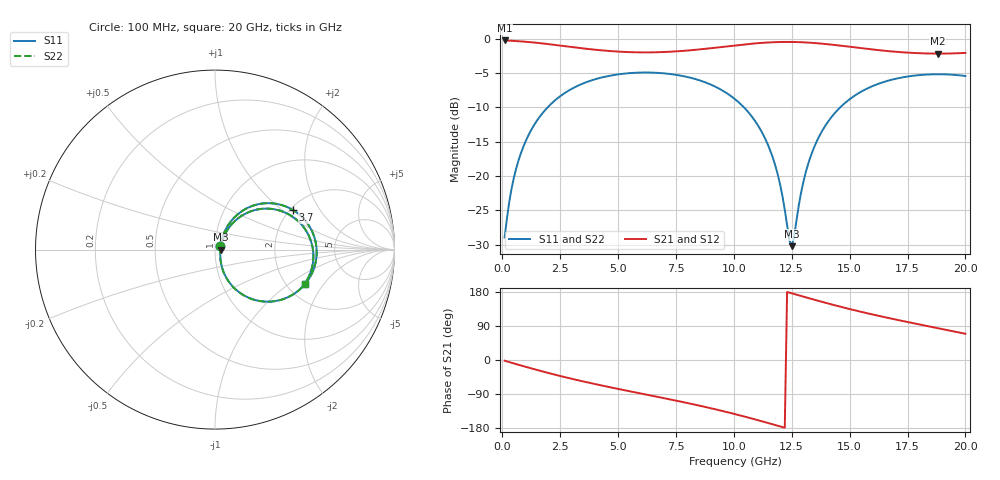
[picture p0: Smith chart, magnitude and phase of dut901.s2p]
! Touchstone file exported from HFSS 2026.1.0
!  File:  C:/ffzhzh/LocalFiles/Ansys_Project_Files/temp_train_TSV_RDL_901_1783276536_38820.aedt
!  Generated:  02:50:22 AM Jul  6, 2026
!  Design:  TSV_RDL
!  Project:  temp_train_TSV_RDL_901_1783276536_38820
! Variables:
!  h_bsmrdl = 4.58um
!  h_ox = 20um
!  h_rdl = 5um
!  h_sub = 63.34um
!  h_tmrdl = 2.54um
!  h_tsv = 63.34um
!  h_via = 3um
!  l_bsmrdl = 459.28um
!  l_sub = 5127um
!  l_tmrdl = 809.6um
!  m_sub = 200um
!  pitch = 46.26um
!  r_tsv = 4.2um
!  s_tmrdl = 10um
!  w_bsmrdl = 11.17um
!  w_sub = 500um
!  w_tmrdl = 25.75um
!  x_tsv_center1 = 822.475um
!  x_tsv_center2 = 1292.925um
!  x_tsv_center3 = 2128.275um
!  x_tsv_center4 = 2598.725um
!  x_tsv_center5 = 3434.075um
!  x_tsv_center6 = 3904.525um
# GHz S MA R 50.000000
! Terminal data exported
! Port[1] = TM_RDL1_1_T1
! Port[2] = TM_RDL5_1_T1
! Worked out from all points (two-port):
!   200 points, 100 MHz to 20 GHz, reference 50 ohm
!   highest |S21| = -0.27 dB at 100 MHz (marker M1); lowest = -2.2 dB at 18.8 GHz (marker M2)
!   |S21| within 3 dB of the highest: start of sweep to end of sweep
!   lowest |S11| = -30.2 dB at 12.5 GHz (marker M3), VSWR 1.06, Z = 53.2 - j0.0965 ohm
!   |S11| at or under -10 dB: start of sweep to 1.959 GHz; 10.43 GHz to 14.59 GHz (4.16 GHz wide, 33.2 % of centre)
!   |S22| runs from -30.3 to -4.9 dB; largest |S21 - S12| = 1.6e-14
!   S11 on the Smith chart (normalised r, x): 100 MHz: 1.06, +0.04; 3.7 GHz: 2.07, +1.20; 20 GHz: 2.48, -1.33
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0.1  0.03566 30.9  0.9698 -1.9  0.9698 -1.9  0.03566 30.9
! Gamma 0 0 0 0
! Port Impedance 50 0 50 0
0.5  0.09728 60.8  0.9624 -9.1  0.9624 -9.1  0.09728 60.8
1.2  0.2089 59.0  0.9429 -21.2  0.9429 -21.2  0.2089 59.0
2.2  0.3464 46.7  0.9033 -37.6  0.9033 -37.6  0.3465 46.7
3.5  0.4727 29.5  0.8483 -56.7  0.8483 -56.7  0.4727 29.5
3.7  0.4869 27.0  0.8409 -59.4  0.8409 -59.4  0.4869 27.0
5.3  0.5572 7.5  0.8 -80.0  0.8 -80.0  0.5572 7.5
6.8  0.5622 -10.0  0.797 -98.4  0.797 -98.4  0.5622 -10.0
8.6  0.4919 -31.8  0.8373 -121.6  0.8373 -121.6  0.4919 -31.9
10.1  0.3569 -51.7  0.8941 -143.5  0.8941 -143.5  0.3569 -51.8
11  0.2395 -63.4  0.9256 -158.1  0.9256 -158.1  0.2395 -63.5
11.6  0.149 -68.8  0.9399 -168.3  0.9399 -168.3  0.149 -69.0
12  0.08653 -66.6  0.9451 -175.3  0.9451 -175.3  0.0864 -66.9
12.4  0.03399 -29.3  0.9462 177.7  0.9462 177.7  0.0336 -29.7
12.5  0.03089 -1.7  0.9458 175.9  0.9458 175.9  0.03043 -1.7
13  0.09027 55.6  0.9401 167.2  0.9401 167.2  0.09008 55.9
13.4  0.1517 57.2  0.9313 160.3  0.9313 160.3  0.1516 57.3
14  0.2393 51.8  0.9126 150.3  0.9126 150.3  0.2392 51.9
14.7  0.3287 43.0  0.8854 139.1  0.8854 139.1  0.3287 43.0
16.7  0.4962 17.4  0.8103 110.5  0.8103 110.5  0.4962 17.5
18.8  0.5506 -7.2  0.7781 84.1  0.7781 84.1  0.5506 -7.2
20  0.5346 -21.0  0.7874 69.2  0.7874 69.2  0.5346 -21.0
